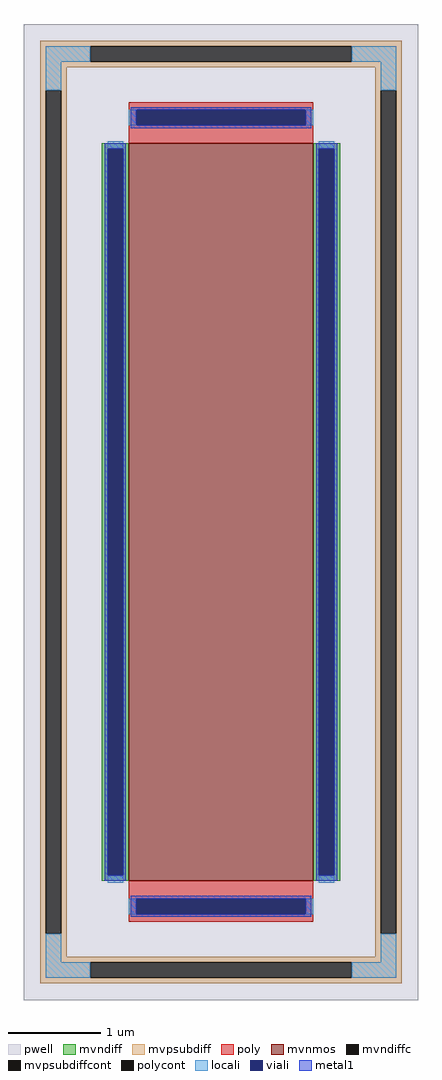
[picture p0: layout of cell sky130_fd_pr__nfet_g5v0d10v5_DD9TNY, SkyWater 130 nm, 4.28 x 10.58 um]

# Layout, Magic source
magic
tech sky130A
<< pwell >>
rect -214 -529 214 529
<< mvnmos >>
rect -100 -400 100 400
<< mvndiff >>
rect -129 394 -100 400
rect -129 -394 -123 394
rect -106 -394 -100 394
rect -129 -400 -100 -394
rect 100 394 129 400
rect 100 -394 106 394
rect 123 -394 129 394
rect 100 -400 129 -394
<< mvndiffc >>
rect -123 -394 -106 394
rect 106 -394 123 394
<< mvpsubdiff >>
rect -196 505 196 511
rect -196 488 -142 505
rect 142 488 196 505
rect -196 482 196 488
rect -196 457 -167 482
rect -196 -457 -190 457
rect -173 -457 -167 457
rect 167 457 196 482
rect -196 -482 -167 -457
rect 167 -457 173 457
rect 190 -457 196 457
rect 167 -482 196 -457
rect -196 -488 196 -482
rect -196 -505 -142 -488
rect 142 -505 196 -488
rect -196 -511 196 -505
<< mvpsubdiffcont >>
rect -142 488 142 505
rect -190 -457 -173 457
rect 173 -457 190 457
rect -142 -505 142 -488
<< poly >>
rect -100 436 100 444
rect -100 419 -92 436
rect 92 419 100 436
rect -100 400 100 419
rect -100 -419 100 -400
rect -100 -436 -92 -419
rect 92 -436 100 -419
rect -100 -444 100 -436
<< polycont >>
rect -92 419 92 436
rect -92 -436 92 -419
<< locali >>
rect -190 488 -142 505
rect 142 488 190 505
rect -190 457 -173 488
rect 173 457 190 488
rect -100 419 -92 436
rect 92 419 100 436
rect -123 394 -106 402
rect -123 -402 -106 -394
rect 106 394 123 402
rect 106 -402 123 -394
rect -100 -436 -92 -419
rect 92 -436 100 -419
rect -190 -488 -173 -457
rect 173 -488 190 -457
rect -190 -505 -142 -488
rect 142 -505 190 -488
<< viali >>
rect -92 419 92 436
rect -123 -394 -106 394
rect 106 -394 123 394
rect -92 -436 92 -419
<< metal1 >>
rect -98 436 98 439
rect -98 419 -92 436
rect 92 419 98 436
rect -98 416 98 419
rect -126 394 -103 400
rect -126 -394 -123 394
rect -106 -394 -103 394
rect -126 -400 -103 -394
rect 103 394 126 400
rect 103 -394 106 394
rect 123 -394 126 394
rect 103 -400 126 -394
rect -98 -419 98 -416
rect -98 -436 -92 -419
rect 92 -436 98 -419
rect -98 -439 98 -436
<< properties >>
string FIXED_BBOX -181 -496 181 496
string gencell sky130_fd_pr__nfet_g5v0d10v5
string library sky130
string parameters w 8 l 2 m 1 nf 1 diffcov 100 polycov 100 guard 1 glc 1 grc 1 gtc 1 gbc 1 tbcov 100 rlcov 100 topc 1 botc 1 poverlap 0 doverlap 1 lmin 0.50 wmin 0.42 compatible {sky130_fd_pr__nfet_01v8 sky130_fd_pr__nfet_01v8_lvt  sky130_fd_bs_flash__special_sonosfet_star  sky130_fd_pr__nfet_g5v0d10v5 sky130_fd_pr__nfet_05v0_nvt  sky130_fd_pr__nfet_03v3_nvt} full_metal 1 viasrc 100 viadrn 100 viagate 100 viagb 0 viagr 0 viagl 0 viagt 0
<< end >>
